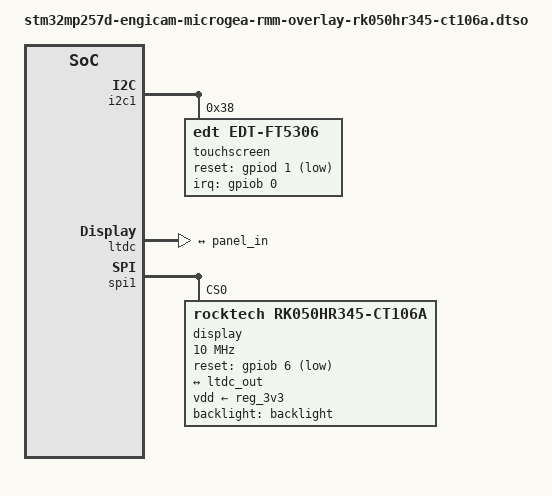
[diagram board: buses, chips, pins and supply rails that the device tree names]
// SPDX-License-Identifier: GPL-2.0
/*
 * Copyright (C) 2026 Amarula Solutions, Dario Binacchi <dario.binacchi@amarulasolutions.com>
 * Copyright (C) 2026 Engicam srl
 *
 * Rocktech RK050HR345-CT106A 5" 480x854 RGB panel with EDT FT5306
 * I2C touchscreen controller.
 */

/dts-v1/;
/plugin/;

#include <dt-bindings/gpio/gpio.h>
#include <dt-bindings/interrupt-controller/irq.h>

&i2c1 {
	pinctrl-names = "default", "sleep";
	pinctrl-0 = <&i2c1_pins_a>;
	pinctrl-1 = <&i2c1_sleep_pins_a>;
	i2c-scl-rising-time-ns = <185>;
	i2c-scl-falling-time-ns = <20>;
	#address-cells = <1>;
	#size-cells = <0>;
	status = "okay";

	touchscreen@38 {
		compatible = "edt,edt-ft5306";
		reg = <0x38>;
		interrupt-parent = <&gpiob>;
		interrupts = <0 IRQ_TYPE_EDGE_FALLING>;
		reset-gpios = <&gpiod 1 GPIO_ACTIVE_LOW>;
		touchscreen-size-x = <480>;
		touchscreen-size-y = <854>;
	};
};

&ltdc {
	pinctrl-names = "default", "sleep";
	pinctrl-0 = <&ltdc_pins_a>;
	pinctrl-1 = <&ltdc_sleep_pins_a>;
	status = "okay";

	port {
		ltdc_out: endpoint {
			remote-endpoint = <&panel_in>;
		};
	};
};

&spi1 {
	#address-cells = <1>;
	#size-cells = <0>;

	display@0 {
		compatible = "rocktech,rk050hr345-ct106a", "ilitek,ili9806e";
		reg = <0>;
		vdd-supply = <&reg_3v3>;
		spi-max-frequency = <10000000>;
		reset-gpios = <&gpiob 6 GPIO_ACTIVE_LOW>;
		backlight = <&backlight>;

		port {
			panel_in: endpoint {
				remote-endpoint = <&ltdc_out>;
			};
		};
	};
};
